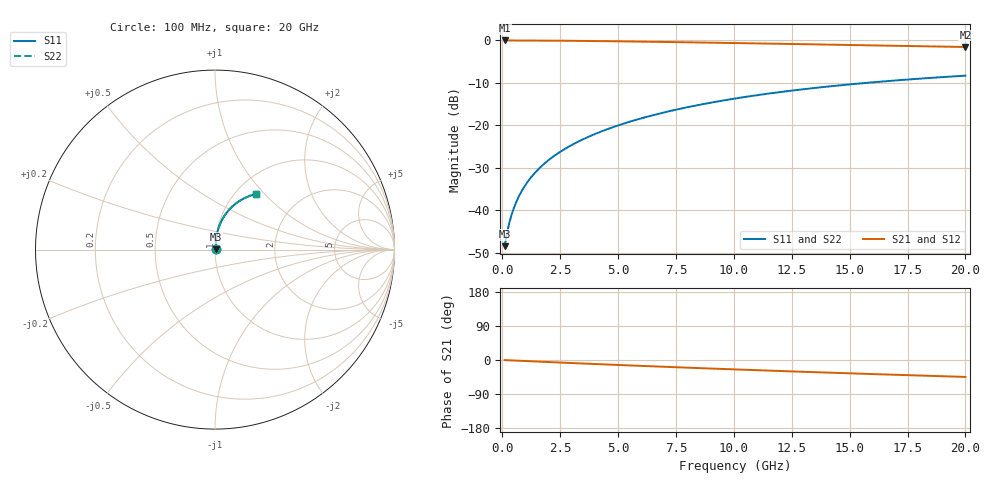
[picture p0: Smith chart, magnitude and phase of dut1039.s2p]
! Touchstone file exported from HFSS 2024.1.0
!  File:  C:/UserFiles/LocalFiles/RDL_TSV_Batchsim/temp_RDL_top_1039_1780044000.aedt
!  Generated:  04:42:39 PM May 29, 2026
!  Design:  RDL_top
!  Project:  temp_RDL_top_1039_1780044000
!  Setup:  Setup1
!  Solution:  Sweep
! Variables:
!  dtsv = 10.80580581um
!  hbump = 3um
!  htsv = 87.54um
!  ldown = 100um
!  lrdl = 641.43um
!  p = 40
!  p1 = 49.39um
!  rhole = 1um
!  t = 450um
!  tdown = 3.915915916um
!  trdl = 3.52um
!  wdown = 15.38538539um
!  wrdl = 21.97um
# GHz S MA R 50.000000
! Terminal data exported
! Port[1] = Box2_T1
! Port[2] = Box2_T2
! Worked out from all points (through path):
!   200 points, 100 MHz to 20 GHz, reference 50 ohm
!   highest |S21| = -0.03 dB at 100 MHz (marker M1); lowest = -1.6 dB at 20 GHz (marker M2)
!   group delay of S21, straight-line fit = 6.16 ps
!   lowest |S11| = -48.4 dB at 100 MHz (marker M3), VSWR 1.01, Z = 50.3 + j0.216 ohm
!   |S11| at or under -10 dB: start of sweep to 15.72 GHz
!   |S22| runs from -48.4 to -8.3 dB; largest |S21 - S12| = 2e-15
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0.1  0.003801 34.5  0.9969 -0.3  0.9969 -0.3  0.003801 34.5
! Gamma 0 0 0 0
! Port Impedance 50 0 50 0
0.2  0.005351 52.0  0.9967 -0.6  0.9967 -0.6  0.005351 52.0
0.3  0.007098 60.8  0.9965 -0.8  0.9965 -0.8  0.007098 60.8
0.4  0.008884 66.0  0.9963 -1.1  0.9963 -1.1  0.008884 66.0
0.5  0.01069 69.5  0.9961 -1.4  0.9961 -1.4  0.01069 69.5
0.6  0.0125 72.1  0.9959 -1.6  0.9959 -1.6  0.0125 72.1
0.8  0.01618 75.6  0.9955 -2.2  0.9955 -2.2  0.01618 75.7
1.1  0.0218 78.8  0.9949 -3.0  0.9949 -3.0  0.0218 78.8
1.3  0.02559 80.1  0.9944 -3.5  0.9944 -3.5  0.02559 80.1
1.6  0.03133 81.4  0.9935 -4.3  0.9935 -4.3  0.03133 81.4
2.1  0.04103 82.5  0.9917 -5.7  0.9917 -5.7  0.04103 82.6
2.7  0.05285 83.1  0.989 -7.2  0.989 -7.2  0.05286 83.1
3.5  0.06892 83.1  0.9845 -9.3  0.9845 -9.3  0.06893 83.1
4.2  0.08324 82.7  0.98 -11.1  0.98 -11.1  0.08326 82.7
5  0.09988 81.9  0.9742 -13.1  0.9742 -13.1  0.09991 82.0
6.8  0.138 79.4  0.9594 -17.5  0.9594 -17.5  0.1381 79.4
8.4  0.1722 76.6  0.945 -21.2  0.945 -21.2  0.1723 76.6
10.1  0.208 73.3  0.9291 -25.0  0.9291 -25.0  0.2081 73.3
11.7  0.2406 70.0  0.9138 -28.4  0.9138 -28.4  0.2407 70.0
13.4  0.2738 66.5  0.8975 -32.0  0.8975 -32.0  0.274 66.5
16.7  0.3329 59.9  0.8658 -38.5  0.8658 -38.5  0.3331 59.9
20  0.3843 53.6  0.835 -44.7  0.835 -44.7  0.3845 53.6
